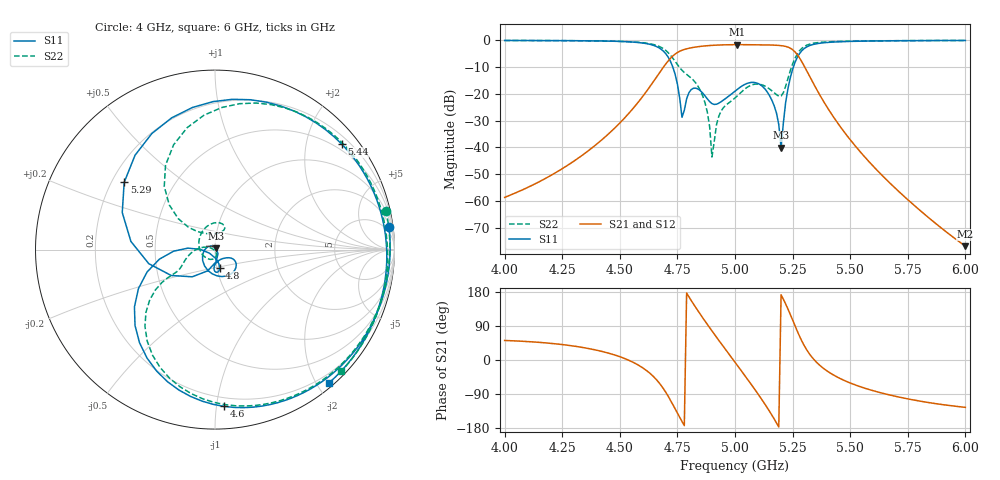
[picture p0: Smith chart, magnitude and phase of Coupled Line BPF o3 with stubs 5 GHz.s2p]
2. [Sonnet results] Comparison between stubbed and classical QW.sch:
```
<Qucs Schematic 24.2.0>
<Properties>
  <View=-294,18,1493,1076,0.870576,0,60>
  <Grid=10,10,1>
  <DataSet=2. [Sonnet results] Comparison between stubbed and classical QW.dat>
  <DataDisplay=2. [Sonnet results] Comparison between stubbed and classical QW.dpl>
  <OpenDisplay=0>
  <Script=SteppedLPF_o5_2GHz.m>
  <RunScript=0>
  <showFrame=3>
  <FrameText0=QW Line Coupled BPF w/ stubs 5 GHz>
  <FrameText1=Drawn By: Andrés Martínez Mera>
  <FrameText2=Date: 28/03/24>
  <FrameText3=Revision:>
</Properties>
<Symbol>
  <.ID -20 -16 SUB>
  <Line -20 20 40 0 #000080 2 1>
  <Line 20 20 0 -40 #000080 2 1>
  <Line -20 -20 40 0 #000080 2 1>
  <Line -20 20 0 -40 #000080 2 1>
</Symbol>
<Components>
  <GND * 1 280 380 0 0 0 0>
  <SPfile X1 1 280 350 -75 -62 0 0 "Coupled Line BPF o3 with stubs 5 GHz.s2p" 1 "rectangular" 0 "linear" 0 "open" 0 "2" 0>
  <Pac P3 1 180 400 18 -26 0 1 "3" 1 "50 Ohm" 1 "0 dBm" 0 "1 GHz" 0 "26.85" 0 "true" 0>
  <GND * 1 180 430 0 0 0 0>
  <GND * 1 360 430 0 0 0 0>
  <Pac P4 1 360 400 18 -26 0 1 "4" 1 "50 Ohm" 1 "0 dBm" 0 "1 GHz" 0 "26.85" 0 "true" 0>
  <.SP SP1 1 70 800 0 71 0 0 "lin" 1 "4.25GHz" 1 "5.75GHz" 1 "300" 1 "no" 0 "1" 0 "2" 0 "no" 0 "no" 0>
  <GND * 1 280 550 0 0 0 0>
  <Pac P5 1 180 570 18 -26 0 1 "1" 1 "50 Ohm" 1 "0 dBm" 0 "1 GHz" 0 "26.85" 0 "true" 0>
  <GND * 1 180 600 0 0 0 0>
  <GND * 1 360 600 0 0 0 0>
  <Pac P6 1 360 570 18 -26 0 1 "2" 1 "50 Ohm" 1 "0 dBm" 0 "1 GHz" 0 "26.85" 0 "true" 0>
  <SPfile X2 1 280 520 -75 -62 0 0 "Coupled Line BPF o3 5 GHz.s2p" 1 "rectangular" 0 "linear" 0 "open" 0 "2" 0>
  <Eqn Eqn4 1 103 172 -28 15 0 0 "S21_dB_QW_Stubbed=dB(S[4,3])" 1 "S11_dB_QW_Stubbed=dB(S[3,3])" 1 "yes" 0>
  <Eqn Eqn3 1 103 72 -28 15 0 0 "S21_dB_QW_Classical=dB(S[2,1])" 1 "S11_dB_QW_Classical=dB(S[1,1])" 1 "yes" 0>
</Components>
<Wires>
  <180 350 250 350 "" 0 0 0 "">
  <180 350 180 370 "" 0 0 0 "">
  <310 350 360 350 "" 0 0 0 "">
  <360 350 360 370 "" 0 0 0 "">
  <180 520 250 520 "" 0 0 0 "">
  <180 520 180 540 "" 0 0 0 "">
  <310 520 360 520 "" 0 0 0 "">
  <360 520 360 540 "" 0 0 0 "">
</Wires>
<Diagrams>
  <Rect 580 680 572 420 3 #c0c0c0 1 00 1 4.2e+09 2e+08 5.8e+09 0 -50 5 0 1 -1 0.5 1 315 0 225 1 0 0 "" "" "">
	<"S11_dB_QW_Classical" #0000ff 0 3 0 0 0>
	<"S21_dB_QW_Classical" #ff0000 0 3 0 0 0>
	<"S11_dB_QW_Stubbed" #0000ff 2 3 0 2 0>
	<"S21_dB_QW_Stubbed" #ff0000 2 3 0 2 0>
  </Rect>
</Diagrams>
<Paintings>
  <Text 300 900 12 #000000 0 "Coupled-line bandpass filter \n Chebyshev 4.75GHz...5.25GHz \n Impedance matching 50 Ohm">
  <Text 810 620 12 #000000 0 "QW BPF w/o stubs">
  <Line 800 600 -40 0 #000000 2 2>
  <Line 800 630 -40 0 #000000 2 1>
  <Text 810 590 12 #000000 0 "QW BPF w/ stubs">
</Paintings>
```
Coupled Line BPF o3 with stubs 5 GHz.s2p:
! Sonnet Data File
! From: sonnet Version : 18.53-Lite
! From Emgraph Data:
! Data File Written: 03/30/2024 16:41:57
!< HDATE 03/30/2024 16:40:17
!< MDATE 03/30/2024 16:40:17
!< PARAMS
!< L0 = 1.75
!< W1 = 0.93
!< L1 = 8.88
!< Lstub = 7.9
!< Wstub = 0.7
!< L2 = 8.71
!< W2 = 1.27
!< END PARAMS
# GHZ S MA R 50.00000
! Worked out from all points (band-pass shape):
!   201 points, 4 GHz to 6 GHz, reference 50 ohm
!   highest |S21| = -1.76 dB at 5.01 GHz (marker M1); lowest = -76.7 dB at 6 GHz (marker M2)
!   |S21| within 3 dB of the highest: 4.749 GHz to 5.263 GHz (514.5 MHz wide, 10.3 % of centre)
!   lowest |S11| = -40.1 dB at 5.2 GHz (marker M3), VSWR 1.02, Z = 50.6 + j0.817 ohm
!   |S11| at or under -10 dB: 4.73 GHz to 5.254 GHz (524.1 MHz wide, 10.5 % of centre)
!   |S22| runs from -43.6 to -0.2 dB; largest |S21 - S12| = 1e-13
!   S11 on the Smith chart (normalised r, x): 4 GHz: 3, +15; 4.6 GHz: 0.14, -1.05; 4.8 GHz: 1.03, -0.21; 5.29 GHz: 0.25, +0.31; 5.44 GHz: 0.36, +2.72; 6 GHz: 0.07, -2.16
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4  0.9772 7.6  0.001178 51.6  0.001178 51.6  0.9767 12.9
4.6  0.8749 -86.8  0.08958 -20.9  0.08958 -20.9  0.8873 -79.1
4.8  0.1043 -75.6  0.7001 166.6  0.7001 166.6  0.2117 -153.0
4.9  0.06536 -74.2  0.7921 76.7  0.7921 76.7  0.006636 -176.2
5  0.1114 -27.4  0.8165 -5.9  0.8165 -5.9  0.08327 -177.5
5.01  0.1204 -28.1  0.8167 -14.1  0.8167 -14.1  0.09127 167.5
5.11  0.1465 -85.9  0.8105 -98.5  0.8105 -98.5  0.1491 74.3
5.2  0.009919 54.5  0.7828 172.0  0.7828 172.0  0.09036 103.7
5.29  0.6297 143.5  0.393 50.1  0.393 50.1  0.697 102.8
5.44  0.9187 39.8  0.03082 -43.8  0.03082 -43.8  0.9345 32.6
6  0.9772 -49.6  0.0001459 -125.0  0.0001459 -125.0  0.9769 -43.8
